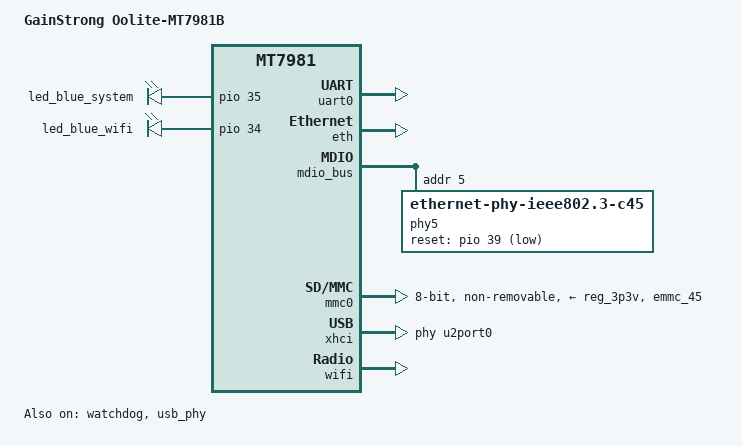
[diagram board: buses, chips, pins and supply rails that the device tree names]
#include "mt7981.dtsi"

/ {
	model = "GainStrong Oolite-MT7981B";

	chosen {
		stdout-path = "serial0:115200n8";
	};

	aliases {
		serial0 = &uart0;
		led-boot = &led_system;
		led-failsafe = &led_system;
		led-running = &led_system;
		led-upgrade = &led_system;
	};

	leds {
		compatible = "gpio-leds";

		led_system: led_blue_system {
			label = "led_blue_system";
			gpios = <&pio 35 GPIO_ACTIVE_HIGH>;
			default-state = "on";
		};

		led_blue_wifi {
			label = "led_blue_wifi";
			gpios = <&pio 34 GPIO_ACTIVE_HIGH>;
		};
	};
};

&uart0 {
	status = "okay";
};

&watchdog {
	status = "okay";
};

&eth {
	pinctrl-names = "default";
	pinctrl-0 = <&mdio_pins>;

	status = "okay";

    // RTL8221B-VB-CG 2.5G Ethernet port
	// On the development board
	eth0: mac@0 {
		compatible = "mediatek,eth-mac";
		reg = <0>;
		phy-mode = "2500base-x";
		phy-handle = <&phy5>;
	};

	// CPU built-in Gigabit Ethernet
	eth1: mac@1 {
		compatible = "mediatek,eth-mac";
		reg = <1>;
		phy-mode = "gmii";
		phy-handle = <&int_gbe_phy>;
	};
};

&mdio_bus {
	phy5: ethernet-phy@5 {
		compatible = "ethernet-phy-ieee802.3-c45";
		reg = <5>;
		reset-assert-us = <100000>;
		reset-deassert-us = <100000>;
		reset-gpios = <&pio 39 GPIO_ACTIVE_LOW>;
		realtek,aldps-enable;
		realtek,led-link-select = <0xa7 0x0 0x0>;
	};
};

&mmc0 {
	pinctrl-names = "default", "state_uhs";
	pinctrl-0 = <&mmc0_pins_default>;
	pinctrl-1 = <&mmc0_pins_uhs>;
	bus-width = <8>;
	max-frequency = <52000000>;
	cap-mmc-highspeed;
	vmmc-supply = <&reg_3p3v>;
	non-removable;
	status = "okay";
};

&pio {
	mmc0_pins_default: mmc0-pins-default {
		mux {
			groups = "emmc_45";
			function = "flash";
		};
	};

	mmc0_pins_uhs: mmc0-pins-uhs {
		mux {
			groups = "emmc_45";
			function = "flash";
		};
	};
};

&usb_phy {
	status = "okay";
};

&xhci {
	mediatek,u3p-dis-msk = <0x0>;
	phys = <&u2port0 PHY_TYPE_USB2>,
	       <&u3port0 PHY_TYPE_USB3>;
	status = "okay";
};

&wifi {
	status = "okay";
};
